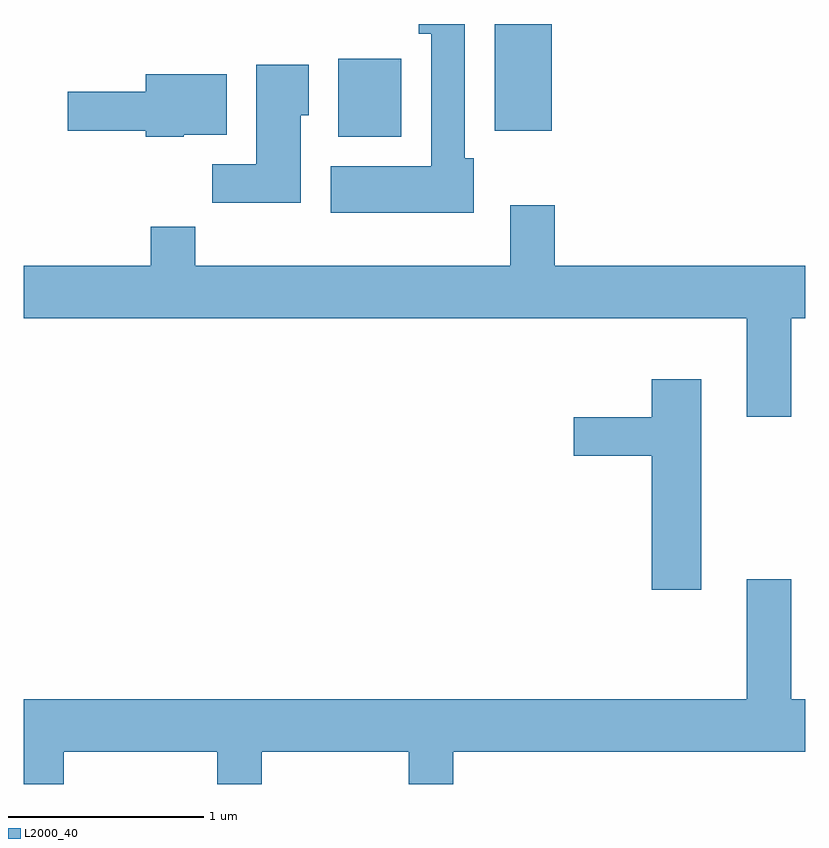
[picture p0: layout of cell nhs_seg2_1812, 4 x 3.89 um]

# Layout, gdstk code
import gdstk
lib = gdstk.Library(unit=1e-6, precision=1e-09)
def R(c, l, rs):  # rectangles x0, y0, x1, y1
    for r in rs: c.add(gdstk.rectangle(r[:2], r[2:], *l))
def P(c, l, *ps):  # polygons
    for p in ps: c.add(gdstk.Polygon(p, *l))
L2000_40 = (2000, 40)

nhs_seg2_1812 = lib.new_cell('nhs_seg2_1812')
R(nhs_seg2_1812, L2000_40, [(239.221,1069.226,239.544,1069.624), (240.021,1069.256,240.314,1069.802)])
P(nhs_seg2_1812, L2000_40, [(239.914,1069.114),(239.869,1069.114),(239.869,1069.802),(239.633,1069.802),(239.633,1069.751),(239.696,1069.751),(239.696,1069.074),(239.181,1069.074),(239.181,1068.836),(239.914,1068.836)],
  [(239.029,1069.336),(239.069,1069.336),(239.069,1069.594),(238.801,1069.594),(238.801,1069.084),(238.576,1069.084),(238.576,1068.886),(239.029,1068.886)],
  [(238.43,1069.236),(238.649,1069.236),(238.649,1069.544),(238.236,1069.544),(238.236,1069.454),(237.836,1069.454),(237.836,1069.256),(238.236,1069.256),(238.236,1069.226),(238.43,1069.226)],
  [(241.539,1068.296),(241.611,1068.296),(241.611,1068.564),(240.329,1068.564),(240.329,1068.874),(240.101,1068.874),(240.101,1068.564),(238.489,1068.564),(238.489,1068.764),(238.261,1068.764),(238.261,1068.564),(237.611,1068.564),(237.611,1068.296),(241.311,1068.296),(241.311,1067.791),(241.539,1067.791)],
  [(241.079,1067.984),(240.826,1067.984),(240.826,1067.789),(240.426,1067.789),(240.426,1067.591),(240.826,1067.591),(240.826,1066.906),(241.079,1066.906)],
  [(237.814,1066.076),(238.601,1066.076),(238.601,1065.911),(238.829,1065.911),(238.829,1066.076),(239.581,1066.076),(239.581,1065.911),(239.809,1065.911),(239.809,1066.076),(241.611,1066.076),(241.611,1066.344),(241.539,1066.344),(241.539,1066.959),(241.311,1066.959),(241.311,1066.344),(237.611,1066.344),(237.611,1065.911),(237.814,1065.911)])

lib.write_gds('nhs_seg2_1812.gds')
